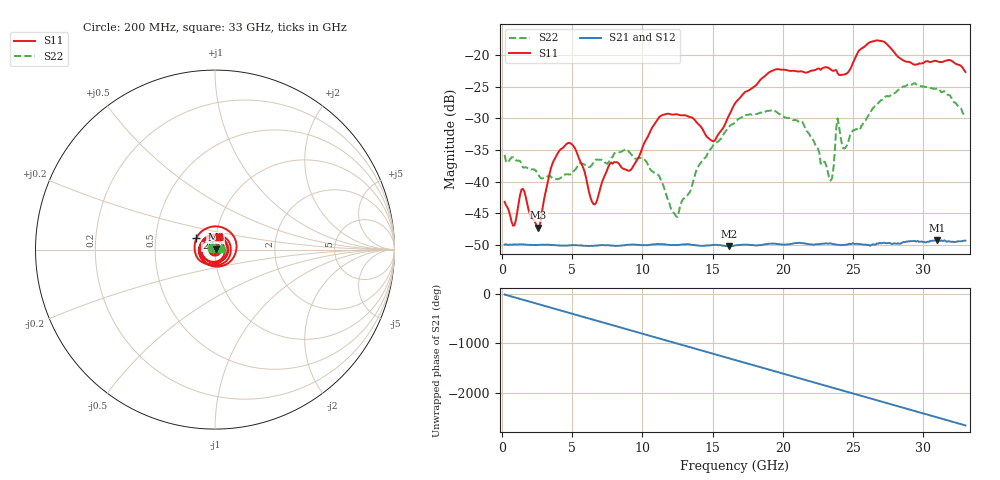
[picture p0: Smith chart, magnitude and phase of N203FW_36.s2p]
# GHZ S RI R 50
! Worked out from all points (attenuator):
!   329 points, 200 MHz to 33 GHz, reference 50 ohm
!   highest |S21| = -49.24 dB at 31 GHz (marker M1); lowest = -50.2 dB at 16.2 GHz (marker M2)
!   lowest |S11| = -47.3 dB at 2.6 GHz (marker M3), VSWR 1.01, Z = 50.4 + j0.113 ohm
!   |S11| at or under -10 dB: start of sweep to end of sweep
!   |S22| runs from -45.6 to -24.4 dB; largest |S21 - S12| = 8.9e-05
!   S11 on the Smith chart (normalised r, x): 200 MHz: 1.01, +0.01; 26 GHz: 0.81, +0.10; 33 GHz: 1.03, +0.15
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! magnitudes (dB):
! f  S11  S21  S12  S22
! 200 MHz  -43.2  -50.0  -49.9  -35.8
! 900 MHz  -46.9  -49.9  -49.9  -36.3
! 1.5 GHz  -41.1  -49.9  -49.9  -37.8
! 2.6 GHz  -47.3  -50.0  -50.0  -38.9
! 4.1 GHz  -35.1  -50.1  -50.1  -39.5
! 5.7 GHz  -37.3  -50.1  -50.1  -37.2
! 6.6 GHz  -43.6  -50.1  -50.1  -36.7
! 7.7 GHz  -37.2  -50.1  -50.1  -36.6
! 11.2 GHz  -29.8  -49.9  -49.9  -39.1
! 12.5 GHz  -29.4  -50.0  -50.0  -45.6
! 15.1 GHz  -33.6  -50.0  -50.0  -34.1
! 16.2 GHz  -29.4  -50.2  -50.2  -31.3
! 16.6 GHz  -27.7  -50.1  -50.1  -30.7
! 19.3 GHz  -22.5  -49.8  -49.8  -28.7
! 22.1 GHz  -22.5  -49.9  -49.9  -33.2
! 23.4 GHz  -22.3  -49.8  -49.8  -39.9
! 23.9 GHz  -22.8  -50.0  -50.0  -30.0
! 24.4 GHz  -23.1  -50.0  -50.0  -34.8
! 26 GHz  -18.3  -50.0  -50.0  -29.9
! 27.6 GHz  -18.7  -49.7  -49.7  -26.5
! 31 GHz  -21.0  -49.2  -49.2  -25.3
! 33 GHz  -22.7  -49.3  -49.4  -29.6
